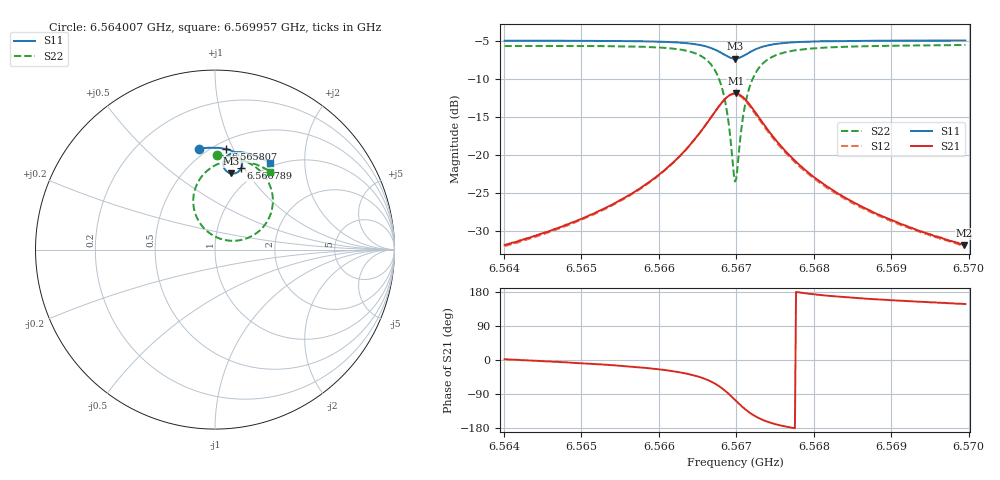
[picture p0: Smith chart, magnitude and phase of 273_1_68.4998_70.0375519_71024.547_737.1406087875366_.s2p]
#  HZ  S  RI  R  50.00
! Rohde & Schwarz Vector Network Analyzer
! Rohde-Schwarz,ZNB20-2Port,1311601062101988,3.16
! Created: UTC 3/20/2024, 5:00:50 PM
! freq[Hz]  re:S11  im:S11  re:S21  im:S21  re:S12  im:S12  re:S22  im:S22
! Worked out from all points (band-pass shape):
!   401 points, 6.564007 GHz to 6.569957 GHz, reference 50 ohm
!   highest |S21| = -11.86 dB at 6.566997 GHz (marker M1); lowest = -31.9 dB at 6.569942 GHz (marker M2)
!   |S21| within 3 dB of the highest: 6.566683 GHz to 6.56728 GHz (597 kHz wide, 0.00909 % of centre)
!   lowest |S11| = -7.3 dB at 6.566982 GHz (marker M3), VSWR 2.53, Z = 40.1 + j41.9 ohm
!   |S11| at or under -10 dB: nowhere
!   |S22| runs from -23.5 to -5.5 dB; largest |S21 - S12| = 0.012
!   S11 on the Smith chart (normalised r, x): 6.564007 GHz: 0.45, +0.75; 6.565807 GHz: 0.57, +0.94; 6.566789 GHz: 0.82, +0.97; 6.569957 GHz: 0.95, +1.35
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6.5640075e9  -0.0894 0.5619  0.0257 0.000905  0.0251 0.000472  0.00893 0.5245
6.565004e9  -0.0093 0.5679  0.0378 -0.00574  0.0371 -0.00627  0.0989 0.5154
6.5658072e9  0.0623 0.5602  0.059 -0.0219  0.058 -0.0227  0.1928 0.4814
6.5660005e9  0.0815 0.5548  0.0678 -0.031  0.0665 -0.0317  0.2217 0.463
6.5663278e9  0.1171 0.5373  0.0872 -0.0605  0.0858 -0.0617  0.2799 0.4046
6.5665509e9  0.1419 0.511  0.1001 -0.1059  0.0977 -0.1079  0.3178 0.3171
6.5666847e9  0.1509 0.4835  0.0957 -0.1537  0.092 -0.1564  0.3174 0.2254
6.5667888e9  0.1464 0.4549  0.0704 -0.2027  0.0642 -0.2053  0.2744 0.1335
6.5668781e9  0.1269 0.4319  0.0201 -0.2405  0.0108 -0.241  0.1835 0.0652
6.5669524e9  0.0996 0.4232  -0.0413 -0.251  -0.0516 -0.2476  0.0743 0.0505
6.5669822e9  0.0876 0.4244  -0.0672 -0.2463  -0.0771 -0.2413  0.029 0.0605
6.5669971e9  0.0817 0.426  -0.0797 -0.2425  -0.0893 -0.2364  0.00757 0.0692
6.5670714e9  0.058 0.4427  -0.1318 -0.2064  -0.1381 -0.1971  -0.0777 0.1384
6.5671161e9  0.0499 0.4569  -0.1511 -0.1777  -0.1551 -0.1677  -0.1065 0.1911
6.5671756e9  0.0463 0.4764  -0.1634 -0.139  -0.1646 -0.1295  -0.121 0.2598
6.5672648e9  0.0519 0.501  -0.1619 -0.0906  -0.1606 -0.083  -0.1091 0.3433
6.5675325e9  0.0915 0.536  -0.1203 -0.0193  -0.1177 -0.016  -0.0143 0.4608
6.5679787e9  0.148 0.5421  -0.0729 0.0078  -0.0712 0.00887  0.099 0.496
6.5684249e9  0.1911 0.5338  -0.0502 0.0128  -0.049 0.0135  0.1679 0.4917
6.5689752e9  0.2364 0.5181  -0.0352 0.0142  -0.0344 0.0145  0.228 0.4747
6.569942e9  0.3058 0.4822  -0.0217 0.0135  -0.0213 0.0137  0.3074 0.435
6.5699569e9  0.3069 0.4817  -0.0216 0.0137  -0.0212 0.0137  0.3084 0.4344
